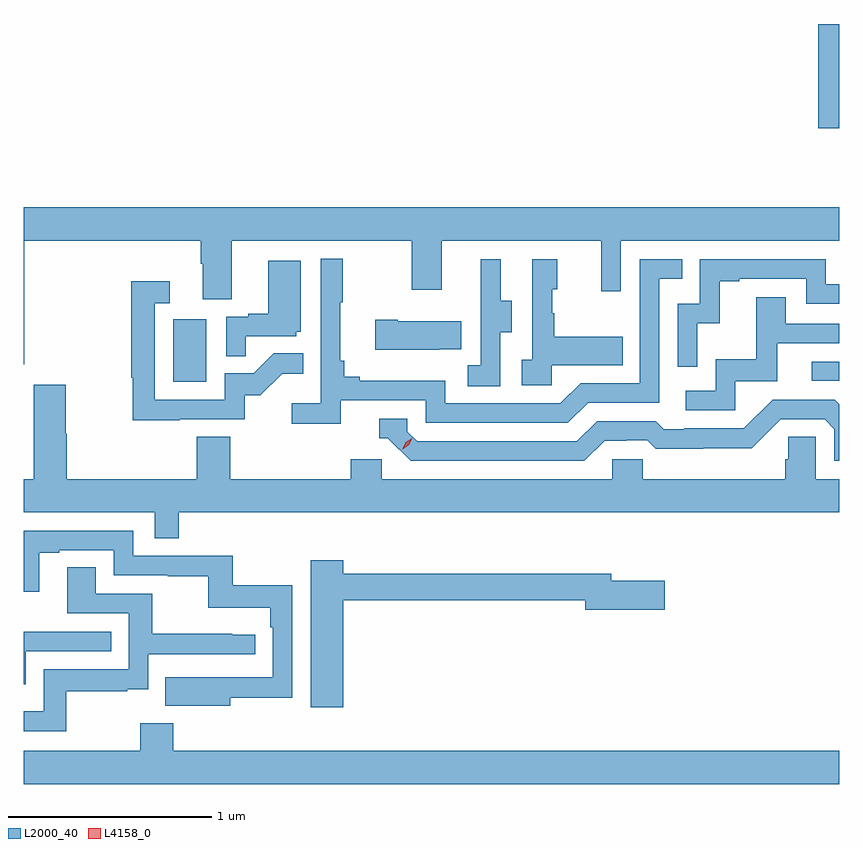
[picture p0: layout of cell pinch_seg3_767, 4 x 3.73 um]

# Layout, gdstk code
import gdstk
lib = gdstk.Library(unit=1e-6, precision=1e-09)
def R(c, l, rs):  # rectangles x0, y0, x1, y1
    for r in rs: c.add(gdstk.rectangle(r[:2], r[2:], *l))
def P(c, l, *ps):  # polygons
    for p in ps: c.add(gdstk.Polygon(p, *l))
L2000_40 = (2000, 40)
L4158_0 = (4158, 0)

pinch_seg3_767 = lib.new_cell('pinch_seg3_767')
R(pinch_seg3_767, L2000_40, [(819.332,744.18,819.496,744.487), (822.465,744.186,822.6,744.279), (822.497,745.425,822.6,745.936)])
P(pinch_seg3_767, L2000_40, [(818.602,744.872),(819.467,744.872),(819.467,744.76),(819.479,744.76),(819.479,744.586),(819.619,744.586),(819.619,744.872),(820.504,744.872),(820.504,744.633),(820.651,744.633),(820.651,744.872),(821.432,744.872),(821.432,744.624),(821.529,744.624),(821.529,744.872),(822.6,744.872),(822.6,745.036),(818.6,745.036),(818.6,744.266),(818.602,744.266)],
  [(820.154,744.09),(820.572,744.09),(820.572,743.979),(821.269,743.979),(821.368,744.078),(821.718,744.078),(821.718,744.687),(821.831,744.687),(821.831,744.783),(821.622,744.783),(821.622,744.174),(821.331,744.174),(821.232,744.075),(820.668,744.075),(820.668,744.187),(820.249,744.187),(820.249,744.206),(820.172,744.206),(820.172,744.283),(820.153,744.283),(820.153,744.571),(820.165,744.571),(820.165,744.784),(820.056,744.784),(820.056,744.076),(819.915,744.076),(819.915,743.974),(820.154,743.974)],
  [(821.904,744.467),(822.014,744.467),(822.014,744.675),(822.109,744.675),(822.109,744.687),(822.438,744.687),(822.438,744.564),(822.6,744.564),(822.6,744.66),(822.534,744.66),(822.534,744.783),(821.916,744.783),(821.916,744.564),(821.808,744.564),(821.808,744.255),(821.904,744.255)],
  [(820.938,744.424),(820.993,744.424),(820.993,744.579),(820.939,744.579),(820.939,744.781),(820.841,744.781),(820.841,744.567),(820.842,744.567),(820.842,744.263),(820.779,744.263),(820.779,744.16),(820.938,744.16)],
  [(821.19,744.263),(821.537,744.263),(821.537,744.403),(821.203,744.403),(821.203,744.518),(821.193,744.518),(821.193,744.636),(821.218,744.636),(821.218,744.781),(821.094,744.781),(821.094,744.29),(821.043,744.29),(821.043,744.165),(821.19,744.165)],
  [(819.689,744.405),(819.936,744.405),(819.936,744.426),(819.958,744.426),(819.958,744.775),(819.8,744.775),(819.8,744.514),(819.701,744.514),(819.701,744.501),(819.594,744.501),(819.594,744.307),(819.689,744.307)],
  [(819.365,743.997),(819.684,743.997),(819.684,744.114),(819.76,744.114),(819.867,744.221),(819.971,744.221),(819.971,744.32),(819.827,744.32),(819.729,744.222),(819.585,744.222),(819.585,744.093),(819.243,744.093),(819.243,744.567),(819.316,744.567),(819.316,744.673),(819.127,744.673),(819.127,744.2),(819.135,744.2),(819.135,743.992),(819.365,743.992)],
  [(822.09,744.183),(822.295,744.183),(822.295,744.369),(822.6,744.369),(822.6,744.465),(822.337,744.465),(822.337,744.595),(822.193,744.595),(822.193,744.292),(821.994,744.292),(821.994,744.138),(821.847,744.138),(821.847,744.042),(822.09,744.042)],
  [(820.637,744.341),(820.745,744.341),(820.745,744.478),(820.435,744.478),(820.435,744.486),(820.323,744.486),(820.323,744.338),(820.637,744.338)],
  [(819.359,743.54),(822.6,743.54),(822.6,743.704),(822.486,743.704),(822.486,743.912),(822.349,743.912),(822.349,743.802),(822.335,743.802),(822.335,743.704),(821.637,743.704),(821.637,743.802),(821.487,743.802),(821.487,743.704),(820.356,743.704),(820.356,743.802),(820.205,743.802),(820.205,743.704),(819.614,743.704),(819.614,743.912),(819.449,743.912),(819.449,743.704),(818.81,743.704),(818.81,743.927),(818.805,743.927),(818.805,744.166),(818.65,744.166),(818.65,743.704),(818.6,743.704),(818.6,743.54),(819.243,743.54),(819.243,743.413),(819.359,743.413)],
  [(821.449,743.892),(821.556,743.892),(821.556,743.895),(821.659,743.895),(821.701,743.853),(821.934,743.853),(821.934,743.855),(822.17,743.855),(822.312,743.997),(822.528,743.997),(822.576,743.949),(822.576,743.793),(822.6,743.793),(822.6,744.072),(822.579,744.093),(822.273,744.093),(822.132,743.952),(821.839,743.952),(821.839,743.949),(821.74,743.949),(821.701,743.988),(821.412,743.988),(821.313,743.889),(820.53,743.889),(820.482,743.937),(820.482,744),(820.343,744),(820.343,743.904),(820.386,743.904),(820.497,743.793),(821.35,743.793)],
  [(819.613,742.63),(819.918,742.63),(819.918,743.182),(819.625,743.182),(819.625,743.328),(819.138,743.328),(819.138,743.451),(818.6,743.451),(818.6,743.15),(818.677,743.15),(818.677,743.343),(818.773,743.343),(818.773,743.355),(819.042,743.355),(819.042,743.232),(819.307,743.232),(819.307,743.227),(819.504,743.227),(819.504,743.072),(819.809,743.072),(819.809,742.976),(819.822,742.976),(819.822,742.731),(819.509,742.731),(819.509,742.732),(819.295,742.732),(819.295,742.592),(819.613,742.592)],
  [(820.168,743.11),(821.354,743.11),(821.354,743.063),(821.743,743.063),(821.743,743.205),(821.482,743.205),(821.482,743.239),(820.168,743.239),(820.168,743.305),(820.007,743.305),(820.007,742.584),(820.168,742.584)],
  [(818.809,742.662),(819.107,742.662),(819.107,742.673),(819.21,742.673),(819.21,742.845),(819.736,742.845),(819.736,742.941),(819.623,742.941),(819.623,742.946),(819.23,742.946),(819.23,743.142),(818.953,743.142),(818.953,743.27),(818.813,743.27),(818.813,743.046),(819.114,743.046),(819.114,742.77),(818.698,742.77),(818.698,742.564),(818.6,742.564),(818.6,742.467),(818.809,742.467)],
  [(818.61,742.86),(819.029,742.86),(819.029,742.956),(818.6,742.956),(818.6,742.697),(818.61,742.697)],
  [(822.6,742.372),(819.332,742.372),(819.332,742.507),(819.172,742.507),(819.172,742.372),(818.6,742.372),(818.6,742.208),(822.6,742.208)])
P(pinch_seg3_767, L4158_0, [(820.458,743.851),(820.458,743.852),(820.474,743.884),(820.505,743.904),(820.505,743.904),(820.505,743.904),(820.489,743.871),(820.458,743.851)])

lib.write_gds('pinch_seg3_767.gds')
